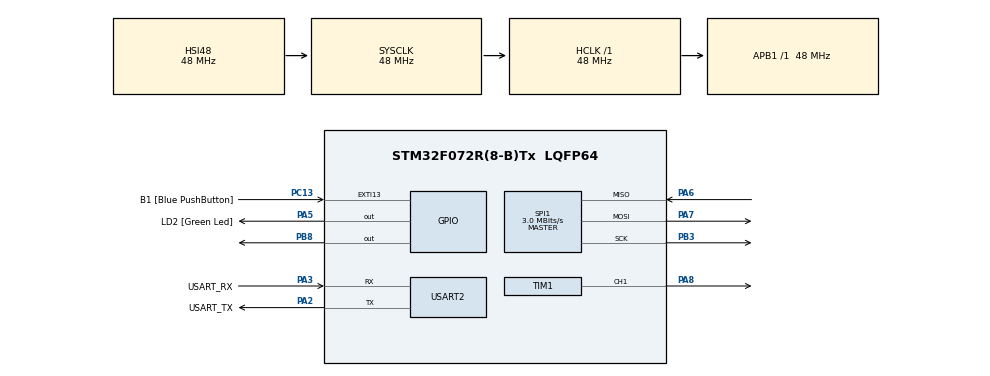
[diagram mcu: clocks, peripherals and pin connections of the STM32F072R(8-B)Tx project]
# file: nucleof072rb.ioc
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Mcu.Family=STM32F0
Mcu.Name=STM32F072R(8-B)Tx
Mcu.Package=LQFP64
PA13.GPIO_Label=TMS
PA13.Mode=Serial_Wire
PA13.Signal=SYS_SWDIO
PA14.GPIO_Label=TCK
PA14.Mode=Serial_Wire
PA14.Signal=SYS_SWCLK
PA2.GPIO_Label=USART_TX
PA2.GPIO_Mode=GPIO_MODE_AF_PP
PA2.GPIO_PuPd=GPIO_NOPULL
PA2.GPIO_Speed=GPIO_SPEED_FREQ_LOW
PA2.Mode=Asynchronous
PA2.Signal=USART2_TX
PA3.GPIO_Label=USART_RX
PA3.GPIO_Mode=GPIO_MODE_AF_PP
PA3.GPIO_PuPd=GPIO_NOPULL
PA3.GPIO_Speed=GPIO_SPEED_FREQ_LOW
PA3.Mode=Asynchronous
PA3.Signal=USART2_RX
PA5.GPIO_Label=LD2 [Green Led]
PA5.GPIO_Mode=GPIO_MODE_OUTPUT_PP
PA5.GPIO_PuPd=GPIO_NOPULL
PA5.GPIO_Speed=GPIO_SPEED_FREQ_LOW
PA5.Signal=GPIO_Output
PA6.Mode=Full_Duplex_Master
PA6.Signal=SPI1_MISO
PA7.Mode=Full_Duplex_Master
PA7.Signal=SPI1_MOSI
PA8.Signal=S_TIM1_CH1
PB3.Mode=Full_Duplex_Master
PB3.Signal=SPI1_SCK
PB8.Signal=GPIO_Output
PC13.GPIO_Label=B1 [Blue PushButton]
PC13.GPIO_ModeDefaultEXTI=GPIO_MODE_IT_FALLING
PC13.Signal=GPXTI13
PC14-OSC32_IN.Mode=LSE-External-Oscillator
PC14-OSC32_IN.Signal=RCC_OSC32_IN
PC15-OSC32_OUT.Mode=LSE-External-Oscillator
PC15-OSC32_OUT.Signal=RCC_OSC32_OUT
PF0-OSC_IN.Mode=HSE-External-Clock-Source
PF0-OSC_IN.Signal=RCC_OSC_IN
PF1-OSC_OUT.Signal=RCC_OSC_OUT
ProjectManager.HeapSize=0x200
ProjectManager.StackSize=0x400
ProjectManager.TargetToolchain=STM32CubeIDE
RCC.AHBFreq_Value=48000000
RCC.APB1Freq_Value=48000000
RCC.APB1TimFreq_Value=48000000
RCC.FLatency-AdvancedSettings=FLASH_LATENCY_1
RCC.HCLKFreq_Value=48000000
RCC.PLLDivider=RCC_PREDIV_DIV2
RCC.PLLMUL=RCC_PLL_MUL12
RCC.PREFETCH_ENABLE-AdvancedSettings=1
RCC.SYSCLKFreq_VALUE=48000000
RCC.SYSCLKSource=RCC_SYSCLKSOURCE_HSI48
SH.S_TIM1_CH1.0=TIM1_CH1,PWM Generation1 CH1
SPI1.BaudRatePrescaler=SPI_BAUDRATEPRESCALER_16
SPI1.CalculateBaudRate=3.0 MBits/s
SPI1.DataSize=SPI_DATASIZE_8BIT
SPI1.Direction=SPI_DIRECTION_2LINES
SPI1.FirstBit=SPI_FIRSTBIT_LSB
SPI1.Mode=SPI_MODE_MASTER
SPI1.VirtualType=VM_MASTER
TIM1.Channel-PWM\ Generation1\ CH1=TIM_CHANNEL_1
TIM1.Period=60000
TIM1.Prescaler=160
USART2.VirtualMode=VM_ASYNC
USART2.VirtualMode-Asynchronous=VM_ASYNC
VP_TIM1_VS_ClockSourceINT.Mode=Internal
board=NUCLEO-F072RB

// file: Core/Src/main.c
/* USER CODE BEGIN Header */
/**
  ******************************************************************************
  * @file           : main.c
  * @brief          : Main program body
  ******************************************************************************
  * @attention
  *
  * <h2><center>&copy; Copyright (c) 2021 STMicroelectronics.
  * All rights reserved.</center></h2>
  *
  * This software component is licensed by ST under BSD 3-Clause license,
  * the "License"; You may not use this file except in compliance with the
  * License. You may obtain a copy of the License at:
  *                        opensource.org/licenses/BSD-3-Clause
  *
  ******************************************************************************
  */
/* USER CODE END Header */
#include "main.h"
#include "spi.h"
#include "tim.h"
#include "usart.h"
#include "gpio.h"

void SystemClock_Config(void);

/* USER CODE BEGIN 0 */
void spiTransmitReceive(uint8_t *tx, uint8_t *rx, uint16_t size) {
	HAL_GPIO_WritePin(GPIOB, GPIO_PIN_8, GPIO_PIN_RESET);
	HAL_SPI_TransmitReceive(&hspi1, tx, rx, size, 100); // maybe set timeout to something else
	HAL_GPIO_WritePin(GPIOB, GPIO_PIN_8, GPIO_PIN_SET);
}

void adcToPwm(uint8_t *rx) {
	uint8_t rxVal1 = (rx[1] << 6) >> 6;
	uint16_t rxVal = (rxVal1 << 8) | rx[2]; // 3000 - 6000
	uint16_t countVal = rxVal * (3000/1023) + 3000;

	__HAL_TIM_SET_COMPARE(&htim1, TIM_CHANNEL_1, countVal);
}
/* USER CODE END 0 */

int main(void)
{

  /* MCU Configuration--------------------------------------------------------*/

  /* Reset of all peripherals, Initializes the Flash interface and the Systick. */
  HAL_Init();

  /* Configure the system clock */
  SystemClock_Config();

  /* Initialize all configured peripherals */
  MX_GPIO_Init();
  MX_USART2_UART_Init();
  MX_SPI1_Init();
  MX_TIM1_Init();
  /* USER CODE BEGIN 2 */
  HAL_GPIO_WritePin(GPIOB, GPIO_PIN_8, GPIO_PIN_SET);
  HAL_TIM_PWM_Start(&htim1, TIM_CHANNEL_1);
  uint8_t tx[3] = {0x01, 0x80, 0x00}; // Data to send
  uint8_t rx[3];
  /* USER CODE END 2 */

  /* Infinite loop */
  /* USER CODE BEGIN WHILE */
  while (1)
  {
     spiTransmitReceive(tx, rx, 3);
	 adcToPwm(rx);
	 HAL_Delay(10);
    /* USER CODE END WHILE */

  }
}

void SystemClock_Config(void)
{
  RCC_OscInitTypeDef RCC_OscInitStruct = {0};
  RCC_ClkInitTypeDef RCC_ClkInitStruct = {0};
  RCC_PeriphCLKInitTypeDef PeriphClkInit = {0};

  /** Initializes the RCC Oscillators according to the specified parameters
  * in the RCC_OscInitTypeDef structure.
  */
  RCC_OscInitStruct.OscillatorType = RCC_OSCILLATORTYPE_HSI48;
  RCC_OscInitStruct.HSI48State = RCC_HSI48_ON;
  RCC_OscInitStruct.PLL.PLLState = RCC_PLL_NONE;
  if (HAL_RCC_OscConfig(&RCC_OscInitStruct) != HAL_OK)
  {
    Error_Handler();
  }
  /** Initializes the CPU, AHB and APB buses clocks
  */
  RCC_ClkInitStruct.ClockType = RCC_CLOCKTYPE_HCLK|RCC_CLOCKTYPE_SYSCLK
                              |RCC_CLOCKTYPE_PCLK1;
  RCC_ClkInitStruct.SYSCLKSource = RCC_SYSCLKSOURCE_HSI48;
  RCC_ClkInitStruct.AHBCLKDivider = RCC_SYSCLK_DIV1;
  RCC_ClkInitStruct.APB1CLKDivider = RCC_HCLK_DIV1;

  if (HAL_RCC_ClockConfig(&RCC_ClkInitStruct, FLASH_LATENCY_1) != HAL_OK)
  {
    Error_Handler();
  }
  PeriphClkInit.PeriphClockSelection = RCC_PERIPHCLK_USART2;
  PeriphClkInit.Usart2ClockSelection = RCC_USART2CLKSOURCE_PCLK1;
  if (HAL_RCCEx_PeriphCLKConfig(&PeriphClkInit) != HAL_OK)
  {
    Error_Handler();
  }
}

void Error_Handler(void)
{
  __disable_irq();
  while (1)
  {
  }
}

/************************ (C) COPYRIGHT STMicroelectronics *****END OF FILE****/
